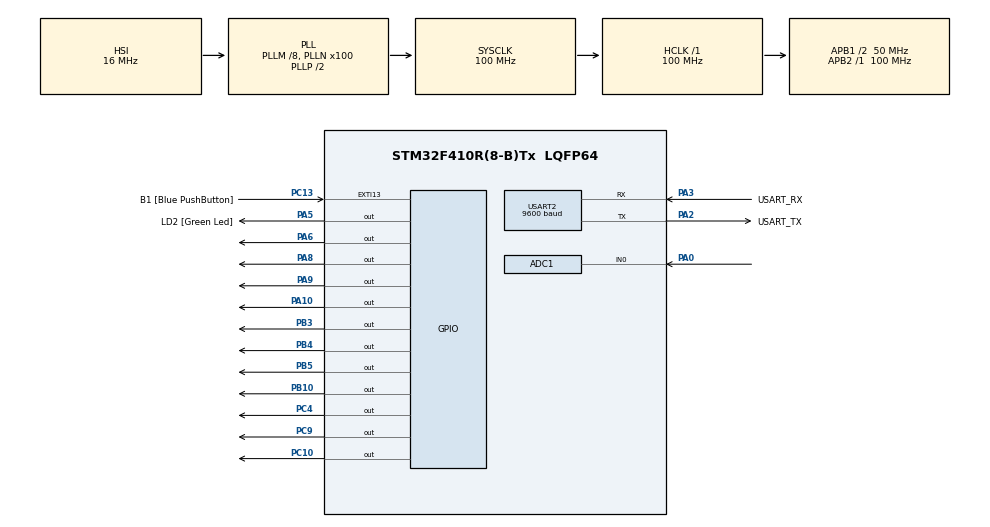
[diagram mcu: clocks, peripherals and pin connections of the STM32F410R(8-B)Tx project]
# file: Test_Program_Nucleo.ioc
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ADC1.Channel-20\#ChannelRegularConversion=ADC_CHANNEL_0
ADC1.ClockPrescaler=ADC_CLOCK_SYNC_PCLK_DIV4
ADC1.ContinuousConvMode=DISABLE
ADC1.DMAContinuousRequests=DISABLE
ADC1.DataAlign=ADC_DATAALIGN_RIGHT
ADC1.DiscontinuousConvMode=DISABLE
ADC1.EOCSelection=ADC_EOC_SINGLE_CONV
ADC1.EnableAnalogWatchDog=false
ADC1.ExternalTrigConv=ADC_SOFTWARE_START
ADC1.ExternalTrigConvEdge=ADC_EXTERNALTRIGCONVEDGE_NONE
ADC1.InjNumberOfConversion=0
ADC1.NbrOfConversion=1
ADC1.NbrOfConversionFlag=1
ADC1.Rank-20\#ChannelRegularConversion=1
ADC1.Resolution=ADC_RESOLUTION_10B
ADC1.SamplingTime-20\#ChannelRegularConversion=ADC_SAMPLETIME_3CYCLES
ADC1.ScanConvMode=DISABLE
ADC1.master=1
FREERTOS.Tasks01=defaultTask,0,128,StartDefaultTask,Default,NULL,Dynamic,NULL,NULL;Stepper1_Task,0,128,Stepper1_Task_function,Default,NULL,Dynamic,NULL,NULL;Stepper2_Task,0,128,Stepper2_Task_function,Default,NULL,Dynamic,NULL,NULL;Stepper3_Task,-3,128,Stepper3_Task_function,Default,NULL,Dynamic,NULL,NULL;Stepper4_Task,-3,128,Stepper4_Task_function,Default,NULL,Dynamic,NULL,NULL;Main_Arm_Task,0,128,Main_Arm_Task_function,Default,NULL,Dynamic,NULL,NULL
Mcu.Family=STM32F4
Mcu.Name=STM32F410R(8-B)Tx
Mcu.Package=LQFP64
NVIC.PriorityGroup=NVIC_PRIORITYGROUP_4
NVIC.TIM1_UP_IRQn=true\:0\:0\:false\:false\:true\:false\:false
NVIC.TIM6_DAC_IRQn=true\:5\:0\:false\:false\:true\:true\:true
NVIC.TimeBase=TIM1_UP_IRQn
NVIC.TimeBaseIP=TIM1
NVIC.USART2_IRQn=true\:5\:0\:false\:false\:true\:true\:true
PA0-WKUP.Signal=ADCx_IN0
PA10.GPIO_PuPd=GPIO_PULLUP
PA10.Signal=GPIO_Output
PA13.GPIO_Label=TMS
PA13.Mode=Serial_Wire
PA13.Signal=SYS_JTMS-SWDIO
PA14.GPIO_Label=TCK
PA14.Mode=Serial_Wire
PA14.Signal=SYS_JTCK-SWCLK
PA2.GPIO_Label=USART_TX
PA2.Mode=Asynchronous
PA2.Signal=USART2_TX
PA3.GPIO_Label=USART_RX
PA3.Mode=Asynchronous
PA3.Signal=USART2_RX
PA5.GPIO_Label=LD2 [Green Led]
PA5.Signal=GPIO_Output
PA6.GPIO_PuPd=GPIO_PULLUP
PA6.Signal=GPIO_Output
PA8.Signal=GPIO_Output
PA9.Signal=GPIO_Output
PB10.Signal=GPIO_Output
PB3.GPIO_PuPd=GPIO_PULLUP
PB3.Signal=GPIO_Output
PB4.Signal=GPIO_Output
PB5.GPIO_PuPd=GPIO_PULLUP
PB5.Signal=GPIO_Output
PC10.Signal=GPIO_Output
PC13-ANTI_TAMP.GPIO_Label=B1 [Blue PushButton]
PC13-ANTI_TAMP.GPIO_ModeDefaultEXTI=GPIO_MODE_IT_FALLING
PC13-ANTI_TAMP.Signal=GPXTI13
PC14-OSC32_IN.Mode=LSE-External-Oscillator
PC14-OSC32_IN.Signal=RCC_OSC32_IN
PC15-OSC32_OUT.Mode=LSE-External-Oscillator
PC15-OSC32_OUT.Signal=RCC_OSC32_OUT
PC4.Signal=GPIO_Output
PC9.Signal=GPIO_Output
PH0\ -\ OSC_IN.Mode=HSE-External-Clock-Source
PH0\ -\ OSC_IN.Signal=RCC_OSC_IN
PH1\ -\ OSC_OUT.Mode=HSE-External-Clock-Source
PH1\ -\ OSC_OUT.Signal=RCC_OSC_OUT
ProjectManager.HeapSize=0x200
ProjectManager.StackSize=0x400
ProjectManager.TargetToolchain=MDK-ARM V5
RCC.48MHZClocksFreq_Value=50000000
RCC.AHBFreq_Value=100000000
RCC.APB1CLKDivider=RCC_HCLK_DIV2
RCC.APB1Freq_Value=50000000
RCC.APB1TimFreq_Value=100000000
RCC.APB2Freq_Value=100000000
RCC.APB2TimFreq_Value=100000000
RCC.CortexFreq_Value=100000000
RCC.FLatency-AdvancedSettings=FLASH_LATENCY_3
RCC.HCLKFreq_Value=100000000
RCC.HSE_VALUE=8000000
RCC.HSI_VALUE=16000000
RCC.PLLM=8
RCC.PLLN=100
RCC.SYSCLKFreq_VALUE=100000000
RCC.SYSCLKSource=RCC_SYSCLKSOURCE_PLLCLK
RCC.VCOOutputFreq_Value=200000000
SH.ADCx_IN0.0=ADC1_IN0,IN0
TIM6.Period=2
TIM6.Prescaler=2
USART2.BaudRate=9600
USART2.Mode=MODE_TX_RX
USART2.VirtualMode=VM_ASYNC
VP_FREERTOS_VS_ENABLE.Mode=Enabled
VP_SYS_VS_tim1.Mode=TIM1
VP_TIM6_VS_ClockSourceINT.Mode=Enable_Timer
board=NUCLEO-F410RB

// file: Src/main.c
/**
  ******************************************************************************
  * @file           : main.c
  * @brief          : Main program body
  ******************************************************************************
  * This notice applies to any and all portions of this file
  * that are not between comment pairs USER CODE BEGIN and
  * USER CODE END. Other portions of this file, whether
  * inserted by the user or by software development tools
  * are owned by their respective copyright owners.
  *
  * Copyright (c) 2020 STMicroelectronics International N.V.
  * All rights reserved.
  *
  * Redistribution and use in source and binary forms, with or without
  * modification, are permitted, provided that the following conditions are met:
  *
  * 1. Redistribution of source code must retain the above copyright notice,
  *    this list of conditions and the following disclaimer.
  * 2. Redistributions in binary form must reproduce the above copyright notice,
  *    this list of conditions and the following disclaimer in the documentation
  *    and/or other materials provided with the distribution.
  * 3. Neither the name of STMicroelectronics nor the names of other
  *    contributors to this software may be used to endorse or promote products
  *    derived from this software without specific written permission.
  * 4. This software, including modifications and/or derivative works of this
  *    software, must execute solely and exclusively on microcontroller or
  *    microprocessor devices manufactured by or for STMicroelectronics.
  * 5. Redistribution and use of this software other than as permitted under
  *    this license is void and will automatically terminate your rights under
  *    this license.
  *
  * THIS SOFTWARE IS PROVIDED BY STMICROELECTRONICS AND CONTRIBUTORS "AS IS"
  * AND ANY EXPRESS, IMPLIED OR STATUTORY WARRANTIES, INCLUDING, BUT NOT
  * LIMITED TO, THE IMPLIED WARRANTIES OF MERCHANTABILITY, FITNESS FOR A
  * PARTICULAR PURPOSE AND NON-INFRINGEMENT OF THIRD PARTY INTELLECTUAL PROPERTY
  * RIGHTS ARE DISCLAIMED TO THE FULLEST EXTENT PERMITTED BY LAW. IN NO EVENT
  * SHALL STMICROELECTRONICS OR CONTRIBUTORS BE LIABLE FOR ANY DIRECT, INDIRECT,
  * INCIDENTAL, SPECIAL, EXEMPLARY, OR CONSEQUENTIAL DAMAGES (INCLUDING, BUT NOT
  * LIMITED TO, PROCUREMENT OF SUBSTITUTE GOODS OR SERVICES; LOSS OF USE, DATA,
  * OR PROFITS; OR BUSINESS INTERRUPTION) HOWEVER CAUSED AND ON ANY THEORY OF
  * LIABILITY, WHETHER IN CONTRACT, STRICT LIABILITY, OR TORT (INCLUDING
  * NEGLIGENCE OR OTHERWISE) ARISING IN ANY WAY OUT OF THE USE OF THIS SOFTWARE,
  * EVEN IF ADVISED OF THE POSSIBILITY OF SUCH DAMAGE.
  *
  ******************************************************************************
  */
#include "main.h"
#include "stm32f4xx_hal.h"
#include "cmsis_os.h"

/* USER CODE BEGIN Includes */

#include "math.h"
#include "string.h"
#include <stdlib.h>
#include <stdio.h>

#define PI                3.141592653
#define JOINT1_RESOLUTION 0.060944641 /*  Joint1 resolution in degree  */
#define JOINT2_RESOLUTION 0.055333713 /*  Joint2 resolution in degree  */
#define JOINT3_RESOLUTION 0.055301333 /*  Joint3 resolution in degree  */
#define X_INIT            132.86198   /*  x value of the initial position */
#define Y_INIT            0.00        /*  y value of the initial position */
#define Z_INIT            -25.3336658 /*  z value of the initial position */
#define SENS_SWITCH_DELAY 100         /*  Short delay, When switching the sens of the stepper */
#define MAX_ARM_RANGE     324         /*  The maximum range that the effector can reach */
#define l2                162.00      /*  Length of the arm 2  */
#define l3                162.00      /*  Length of the arm 3  */
#define l4                122.5       /*  Length of the arm 4  */

typedef struct{
	short x;
	short y;
	short z;
	}Color_Area;

/* USER CODE END Includes */

ADC_HandleTypeDef hadc1;

TIM_HandleTypeDef htim6;

UART_HandleTypeDef huart2;

osThreadId defaultTaskHandle;
osThreadId Stepper1_TaskHandle;
osThreadId Stepper2_TaskHandle;
osThreadId Stepper3_TaskHandle;
osThreadId Stepper4_TaskHandle;
osThreadId Main_Arm_TaskHandle;

/* USER CODE BEGIN PV */
/* Private variables ---------------------------------------------------------*/

const char SLEEPING='z';
const char TRACKING ='t';
const char SORTING='s';

float O1=0;        /* Current O1 joint in degree */
float O2=-35.2;    /* Current O2 joint in degree */
float O3=60.1;     /* Current O3 joint in degree */
float O4=-90;      /* Current O4 joint in degree */
float O1_t=0;      /* O1 of the current target  */
float O2_t=90;     /* O2 of the current target  */
float O3_t=-35;    /* O3 of the current target  */
float O4_t=-90;    /* O1 of the current target  */

char state = SLEEPING;    /* Status of the Arm  */
unsigned char Step1_done,Step2_done,Step3_done = 0;  /* Status of each Stepper Motor  */
short sens_1=1;     /* Current sens of the stepper 1 */
short sens_2=1;     /* Current sens of the stepper 2 */
short sens_3=-1;    /* Current sens of the stepper 3 */
short  x_target=0;  /* x value of the current target */
short  y_target=0;  /* y value of the current target */

char	PC_Data[7]={0};
char	x_tab[3]={0};
char	y_tab[3]={0};

char color ='g';                        /* Color of the current object */
Color_Area  Green_Area={150,195,-130};  /* Coordinates of the green area */
Color_Area  Red_Area={250,195,-130};    /* Coordinates of the red area */
Color_Area  Blue_Area={150,-195,-130};  /* Coordinates of the blue area */
Color_Area  Yellow_Area={250,-195,-130};/* Coordinates of the yellow area */

/* USER CODE END PV */

void SystemClock_Config(void);
static void MX_GPIO_Init(void);
static void MX_USART2_UART_Init(void);
static void MX_TIM6_Init(void);
static void MX_ADC1_Init(void);
void Stepper1_Task_function(void const * argument);
void Stepper2_Task_function(void const * argument);
void Stepper3_Task_function(void const * argument);
void Main_Arm_Task_function(void const * argument);

/* USER CODE BEGIN PFP */
/* Private function prototypes -----------------------------------------------*/

int Check_Object(void);             /*  Verify if there is an object or no  */
unsigned char Steppers_Ready(void);	/*  Get the state of all Stepper Motors  */
/*  Set(O1_t,O2_t,O3_t,O4_t) of the new target */
void Set_Joint_Angles(float xt,float yt,float zt);

/* USER CODE END PFP */

int main(void)
{

  /* MCU Configuration----------------------------------------------------------*/

  /* Reset of all peripherals, Initializes the Flash interface and the Systick. */
  HAL_Init();

  /* Configure the system clock */
  SystemClock_Config();

  /* Initialize all configured peripherals */
  MX_GPIO_Init();
  MX_USART2_UART_Init();
  MX_TIM6_Init();
  MX_ADC1_Init();
  /* USER CODE BEGIN 2 */
 	__HAL_UART_ENABLE_IT(&huart2,UART_IT_RXNE);
  /* USER CODE END 2 */

  /* Create the thread(s) */

  /* definition and creation of Stepper1_Task */
  osThreadDef(Stepper1_Task, Stepper1_Task_function, osPriorityNormal, 0, 128);
  Stepper1_TaskHandle = osThreadCreate(osThread(Stepper1_Task), NULL);

  /* definition and creation of Stepper2_Task */
  osThreadDef(Stepper2_Task, Stepper2_Task_function,osPriorityNormal, 0, 128);
  Stepper2_TaskHandle = osThreadCreate(osThread(Stepper2_Task), NULL);

  /* definition and creation of Stepper3_Task */
  osThreadDef(Stepper3_Task, Stepper3_Task_function, osPriorityNormal, 0, 128);
  Stepper3_TaskHandle = osThreadCreate(osThread(Stepper3_Task), NULL);

  /* definition and creation of Main_Arm_Task */
  osThreadDef(Main_Arm_Task, Main_Arm_Task_function, osPriorityNormal, 0, 128);
  Main_Arm_TaskHandle = osThreadCreate(osThread(Main_Arm_Task), NULL);

  /* Start scheduler */
 osKernelStart();

  /* We should never get here as control is now taken by the scheduler */

  /* Infinite loop */
  while (1)
  {

  }

}

void SystemClock_Config(void)
{

  RCC_OscInitTypeDef RCC_OscInitStruct;
  RCC_ClkInitTypeDef RCC_ClkInitStruct;

    /**Configure the main internal regulator output voltage
    */
  __HAL_RCC_PWR_CLK_ENABLE();

  __HAL_PWR_VOLTAGESCALING_CONFIG(PWR_REGULATOR_VOLTAGE_SCALE1);

    /**Initializes the CPU, AHB and APB busses clocks
    */
  RCC_OscInitStruct.OscillatorType = RCC_OSCILLATORTYPE_HSI;
  RCC_OscInitStruct.HSIState = RCC_HSI_ON;
  RCC_OscInitStruct.HSICalibrationValue = 16;
  RCC_OscInitStruct.PLL.PLLState = RCC_PLL_ON;
  RCC_OscInitStruct.PLL.PLLSource = RCC_PLLSOURCE_HSI;
  RCC_OscInitStruct.PLL.PLLM = 8;
  RCC_OscInitStruct.PLL.PLLN = 100;
  RCC_OscInitStruct.PLL.PLLP = RCC_PLLP_DIV2;
  RCC_OscInitStruct.PLL.PLLQ = 4;
  RCC_OscInitStruct.PLL.PLLR = 2;
  if (HAL_RCC_OscConfig(&RCC_OscInitStruct) != HAL_OK)
  {
    _Error_Handler(__FILE__, __LINE__);
  }

    /**Initializes the CPU, AHB and APB busses clocks
    */
  RCC_ClkInitStruct.ClockType = RCC_CLOCKTYPE_HCLK|RCC_CLOCKTYPE_SYSCLK
                              |RCC_CLOCKTYPE_PCLK1|RCC_CLOCKTYPE_PCLK2;
  RCC_ClkInitStruct.SYSCLKSource = RCC_SYSCLKSOURCE_PLLCLK;
  RCC_ClkInitStruct.AHBCLKDivider = RCC_SYSCLK_DIV1;
  RCC_ClkInitStruct.APB1CLKDivider = RCC_HCLK_DIV2;
  RCC_ClkInitStruct.APB2CLKDivider = RCC_HCLK_DIV1;

  if (HAL_RCC_ClockConfig(&RCC_ClkInitStruct, FLASH_LATENCY_3) != HAL_OK)
  {
    _Error_Handler(__FILE__, __LINE__);
  }

    /**Configure the Systick interrupt time
    */
  HAL_SYSTICK_Config(HAL_RCC_GetHCLKFreq()/1000);

    /**Configure the Systick
    */
  HAL_SYSTICK_CLKSourceConfig(SYSTICK_CLKSOURCE_HCLK);

  /* SysTick_IRQn interrupt configuration */
  HAL_NVIC_SetPriority(SysTick_IRQn, 15, 0);
}

/* ADC1 init function */
static void MX_ADC1_Init(void)
{

  ADC_ChannelConfTypeDef sConfig;

    /**Configure the global features of the ADC (Clock, Resolution, Data Alignment and number of conversion)
    */
  hadc1.Instance = ADC1;
  hadc1.Init.ClockPrescaler = ADC_CLOCK_SYNC_PCLK_DIV4;
  hadc1.Init.Resolution = ADC_RESOLUTION_10B;
  hadc1.Init.ScanConvMode = DISABLE;
  hadc1.Init.ContinuousConvMode = DISABLE;
  hadc1.Init.DiscontinuousConvMode = DISABLE;
  hadc1.Init.ExternalTrigConvEdge = ADC_EXTERNALTRIGCONVEDGE_NONE;
  hadc1.Init.ExternalTrigConv = ADC_SOFTWARE_START;
  hadc1.Init.DataAlign = ADC_DATAALIGN_RIGHT;
  hadc1.Init.NbrOfConversion = 1;
  hadc1.Init.DMAContinuousRequests = DISABLE;
  hadc1.Init.EOCSelection = ADC_EOC_SINGLE_CONV;
  if (HAL_ADC_Init(&hadc1) != HAL_OK)
  {
    _Error_Handler(__FILE__, __LINE__);
  }

    /**Configure for the selected ADC regular channel its corresponding rank in the sequencer and its sample time.
    */
  sConfig.Channel = ADC_CHANNEL_0;
  sConfig.Rank = 1;
  sConfig.SamplingTime = ADC_SAMPLETIME_3CYCLES;
  if (HAL_ADC_ConfigChannel(&hadc1, &sConfig) != HAL_OK)
  {
    _Error_Handler(__FILE__, __LINE__);
  }

}

/* TIM6 init function */
static void MX_TIM6_Init(void)
{

  TIM_MasterConfigTypeDef sMasterConfig;

  htim6.Instance = TIM6;
  htim6.Init.Prescaler = 2;
  htim6.Init.CounterMode = TIM_COUNTERMODE_UP;
  htim6.Init.Period = 2;
  if (HAL_TIM_Base_Init(&htim6) != HAL_OK)
  {
    _Error_Handler(__FILE__, __LINE__);
  }

  sMasterConfig.MasterOutputTrigger = TIM_TRGO_RESET;
  sMasterConfig.MasterSlaveMode = TIM_MASTERSLAVEMODE_DISABLE;
  if (HAL_TIMEx_MasterConfigSynchronization(&htim6, &sMasterConfig) != HAL_OK)
  {
    _Error_Handler(__FILE__, __LINE__);
  }

}

/* USART2 init function */
static void MX_USART2_UART_Init(void)
{

  huart2.Instance = USART2;
  huart2.Init.BaudRate = 9600;
  huart2.Init.WordLength = UART_WORDLENGTH_8B;
  huart2.Init.StopBits = UART_STOPBITS_1;
  huart2.Init.Parity = UART_PARITY_NONE;
  huart2.Init.Mode = UART_MODE_TX_RX;
  huart2.Init.HwFlowCtl = UART_HWCONTROL_NONE;
  huart2.Init.OverSampling = UART_OVERSAMPLING_16;
  if (HAL_UART_Init(&huart2) != HAL_OK)
  {
    _Error_Handler(__FILE__, __LINE__);
  }

}

/** Configure pins as
        * Analog
        * Input
        * Output
        * EVENT_OUT
        * EXTI
*/
static void MX_GPIO_Init(void)
{

  GPIO_InitTypeDef GPIO_InitStruct;

  /* GPIO Ports Clock Enable */
  __HAL_RCC_GPIOC_CLK_ENABLE();
  __HAL_RCC_GPIOH_CLK_ENABLE();
  __HAL_RCC_GPIOA_CLK_ENABLE();
  __HAL_RCC_GPIOB_CLK_ENABLE();

  /*Configure GPIO pin Output Level */
  HAL_GPIO_WritePin(GPIOA, LD2_Pin|GPIO_PIN_6|GPIO_PIN_8|GPIO_PIN_9
                          |GPIO_PIN_10, GPIO_PIN_RESET);

  /*Configure GPIO pin Output Level */
  HAL_GPIO_WritePin(GPIOC, GPIO_PIN_4|GPIO_PIN_9|GPIO_PIN_10, GPIO_PIN_RESET);

  /*Configure GPIO pin Output Level */
  HAL_GPIO_WritePin(GPIOB, GPIO_PIN_10|GPIO_PIN_3|GPIO_PIN_4|GPIO_PIN_5, GPIO_PIN_RESET);

  /*Configure GPIO pin : B1_Pin */
  GPIO_InitStruct.Pin = B1_Pin;
  GPIO_InitStruct.Mode = GPIO_MODE_IT_FALLING;
  GPIO_InitStruct.Pull = GPIO_NOPULL;
  HAL_GPIO_Init(B1_GPIO_Port, &GPIO_InitStruct);

  /*Configure GPIO pins : LD2_Pin PA8 PA9 */
  GPIO_InitStruct.Pin = LD2_Pin|GPIO_PIN_8|GPIO_PIN_9;
  GPIO_InitStruct.Mode = GPIO_MODE_OUTPUT_PP;
  GPIO_InitStruct.Pull = GPIO_NOPULL;
  GPIO_InitStruct.Speed = GPIO_SPEED_FREQ_LOW;
  HAL_GPIO_Init(GPIOA, &GPIO_InitStruct);

  /*Configure GPIO pins : PA6 PA10 */
  GPIO_InitStruct.Pin = GPIO_PIN_6|GPIO_PIN_10;
  GPIO_InitStruct.Mode = GPIO_MODE_OUTPUT_PP;
  GPIO_InitStruct.Pull = GPIO_PULLUP;
  GPIO_InitStruct.Speed = GPIO_SPEED_FREQ_LOW;
  HAL_GPIO_Init(GPIOA, &GPIO_InitStruct);

  /*Configure GPIO pins : PC4 PC9 PC10 */
  GPIO_InitStruct.Pin = GPIO_PIN_4|GPIO_PIN_9|GPIO_PIN_10;
  GPIO_InitStruct.Mode = GPIO_MODE_OUTPUT_PP;
  GPIO_InitStruct.Pull = GPIO_NOPULL;
  GPIO_InitStruct.Speed = GPIO_SPEED_FREQ_LOW;
  HAL_GPIO_Init(GPIOC, &GPIO_InitStruct);

  /*Configure GPIO pins : PB10 PB4 */
  GPIO_InitStruct.Pin = GPIO_PIN_10|GPIO_PIN_4;
  GPIO_InitStruct.Mode = GPIO_MODE_OUTPUT_PP;
  GPIO_InitStruct.Pull = GPIO_NOPULL;
  GPIO_InitStruct.Speed = GPIO_SPEED_FREQ_LOW;
  HAL_GPIO_Init(GPIOB, &GPIO_InitStruct);

  /*Configure GPIO pins : PB3 PB5 */
  GPIO_InitStruct.Pin = GPIO_PIN_3|GPIO_PIN_5;
  GPIO_InitStruct.Mode = GPIO_MODE_OUTPUT_PP;
  GPIO_InitStruct.Pull = GPIO_PULLUP;
  GPIO_InitStruct.Speed = GPIO_SPEED_FREQ_LOW;
  HAL_GPIO_Init(GPIOB, &GPIO_InitStruct);

}

/* USER CODE BEGIN 4 */

int sign(float x){
	return (x > 0) - (x < 0);
}

   /* Convert radians to degrees */
float rad_to_deg(double rad){
    return(rad*360/(2*PI));
}

   /* 1 <=> Object detected    0 <=> No Object detected  */
int Check_Object(){
  int  adc=0;
  for(int i=0;i<100;i++){
     HAL_ADC_Start(&hadc1);
     adc+=HAL_ADC_GetValue(&hadc1);
  }
  adc/=100;
  return (adc<100);
}

		/*  Set(O1_t,O2_t,O3_t,O4_t) of the new target */
void  Set_Joint_Angles(float xt,float yt , float zt){

  float a=sqrt(pow(xt,2)+pow(yt,2));
  float sphere_radius=sqrt(a*a+pow((zt+l4),2));
  float alpha=(a*a+pow((zt+l4),2)+pow(l3,2)-pow(l2,2))/(2*l3);
  float beta=atan((zt+l4)/a);
  /* Verifying that the new target is in the range of the arm  */
  if(sphere_radius<=MAX_ARM_RANGE){

    if(xt==0) O1_t=PI/2*sign(yt); else  O1_t=atan(yt/xt);
     O2_t=acos(alpha/sphere_radius)+beta;
     O3_t=acos((a-l3*cos(O2_t))/l2)*sign(zt);

     O1_t=rad_to_deg(O1_t); /* Converting angles from radians to degrees  */
     O2_t=rad_to_deg(O2_t);
     O3_t=rad_to_deg(O3_t);
     O4_t=-90.00;
     /* Initializing steppers state to 0  */
     Step1_done=0; Step2_done=0; Step3_done=0;
	}
}

		 /*  Get the state of all Stepper Motors  */
unsigned char Steppers_Ready(){
	return(Step1_done && Step2_done && Step3_done);
}

/* USER CODE END 4 */

/* Stepper1_Task_function function */
void Stepper1_Task_function(void const * argument)
{
  /* USER CODE BEGIN Stepper1_Task_function */
  /* Infinite loop */
  for(;;)
  {
    if(fabs(O1_t-O1)>(JOINT1_RESOLUTION+0.01)){
       if((O1<O1_t)&&(sens_1==-1)){osDelay(SENS_SWITCH_DELAY); sens_1= 1; }  /*  Short delay while reversing    */
       if((O1>O1_t)&&(sens_1==1)){osDelay(SENS_SWITCH_DELAY);  sens_1= -1;}	/*	the sens of the stepper motor */

        HAL_GPIO_WritePin(GPIOB,GPIO_PIN_4,sens_1-1); /*  Set the direction of the stepper */

        HAL_GPIO_WritePin(GPIOA,GPIO_PIN_10,1); /* Sending one pulse command to the stepper motor <=> 1 step */
        osDelay(1);
        HAL_GPIO_WritePin(GPIOA,GPIO_PIN_10,0);
        osDelay(1);

        O1+=(JOINT1_RESOLUTION*sens_1); /* Increment or Decrement the joint angle with each step */
     }
     else{
       Step1_done=1; /* Set the stepper state to 1 */
       osDelay(1);
     }
   }
  /* USER CODE END Stepper1_Task_function */
}

/* Stepper2_Task_function function */
void Stepper2_Task_function(void const * argument)
{
  /* USER CODE BEGIN Stepper2_Task_function */
  /* Infinite loop */
  for(;;)
  {
     if(fabs(O2_t-O2)>(JOINT2_RESOLUTION+0.01)){
        if((O2>O2_t)&&(sens_2==1)){	 osDelay(SENS_SWITCH_DELAY); sens_2= -1;} /*  Short delay while reversing  */
        if((O2<O2_t)&&(sens_2==-1)){ osDelay(SENS_SWITCH_DELAY);  sens_2= 1;}	/*	the sens of the stepper motor */

        HAL_GPIO_WritePin(GPIOA,GPIO_PIN_8,sens_2-1);/*  Set the direction of the stepper */

        HAL_GPIO_WritePin(GPIOB,GPIO_PIN_5,1); /* Sending one pulse command to the stepper motor <=> 1 step */
        osDelay(1);
        HAL_GPIO_WritePin(GPIOB,GPIO_PIN_5,0);
        osDelay(1);

        O2+=(JOINT2_RESOLUTION*sens_2); /* Increment or Decrement the joint angle with each step */
     }
     else{
       Step2_done=1;	/* Set the stepper state to 1 */
       osDelay(1);
     }
   }
  /* USER CODE END Stepper2_Task_function */
}

/* Stepper3_Task_function function */
void Stepper3_Task_function(void const * argument)
{
  /* USER CODE BEGIN Stepper3_Task_function */
  /* Infinite loop */
  for(;;)
  {
       if(fabs(O3_t-O3)>(JOINT3_RESOLUTION+0.01)){
          if((O3<O3_t)&&(sens_3==-1)){osDelay(SENS_SWITCH_DELAY); sens_3= 1;} /*  Short delay while reversing  */
          if((O3>O3_t)&&(sens_3==1)){osDelay(SENS_SWITCH_DELAY);  sens_3=-1;}	/*	the sens of the stepper motor */

          HAL_GPIO_WritePin(GPIOA,GPIO_PIN_5,sens_3+1); /*  Set the direction of the stepper */

          HAL_GPIO_WritePin(GPIOA,GPIO_PIN_6,1); /* Sending one pulse command to the stepper motor <=> 1 step */
          osDelay(1);
          HAL_GPIO_WritePin(GPIOA,GPIO_PIN_6,0);
          osDelay(1);

          O3+=(JOINT3_RESOLUTION*sens_3); /* Increment or Decrement the joint angle with each step */
       }
       else{
          Step3_done=1;	/* Set the stepper state to 1 */
          osDelay(1);
        }
    }
  /* USER CODE END Stepper3_Task_function */
}

/* Main_Arm_Task_function function */
void Main_Arm_Task_function(void const * argument)
{
  /* Infinite loop */
  for(;;)
  {
     if(Steppers_Ready() && state==TRACKING ){
        if(Check_Object()){  /* Object detected */

          state=SORTING;
          HAL_GPIO_WritePin(GPIOC,GPIO_PIN_4,1);  /* pump ON */
          Set_Joint_Angles(x_target,y_target,-178);  /* Get object */
          while(!Steppers_Ready());
          Set_Joint_Angles(x_target,y_target,-116);	 /* Pick object up  */
          while(!Steppers_Ready());
          switch (color){   /* Place each object in the appropriate color area  */
            case 'g':Set_Joint_Angles(Green_Area.x,Green_Area.y,Green_Area.z);    Green_Area.z+=25;   break;
            case 'r':Set_Joint_Angles(Red_Area.x,Red_Area.y,Red_Area.z);          Red_Area.z+=25;     break;
            case 'b':Set_Joint_Angles(Blue_Area.x,Blue_Area.y,Blue_Area.z);       Blue_Area.z+=25;    break;
            case 'y':Set_Joint_Angles(Yellow_Area.x,Yellow_Area.y,Yellow_Area.z); Yellow_Area.z+=25;  break;
            default : break;
          }
       }
        else{  /* No object detected */
          state=SLEEPING;
          Set_Joint_Angles(X_INIT,Y_INIT,Z_INIT); /* Set the Arm to the initial position */
        }
      }
    if(Steppers_Ready() && state==SORTING ){
        HAL_GPIO_WritePin(GPIOC,GPIO_PIN_4,0); /* pump OFF */
        while(Check_Object());
        Set_Joint_Angles(X_INIT,Y_INIT,Z_INIT); /* Set the Arm to the initial position */
        state=SLEEPING;
     }
    osDelay(1);
  }
  /* USER CODE END Main_Arm_Task_function */
}

void HAL_TIM_PeriodElapsedCallback(TIM_HandleTypeDef *htim)
{
  if (htim->Instance == TIM1) {
    HAL_IncTick();
  }
}

void _Error_Handler(char *file, int line)
{
  while(1)
  {
  }
}

/************************ (C) COPYRIGHT STMicroelectronics *****END OF FILE****/
